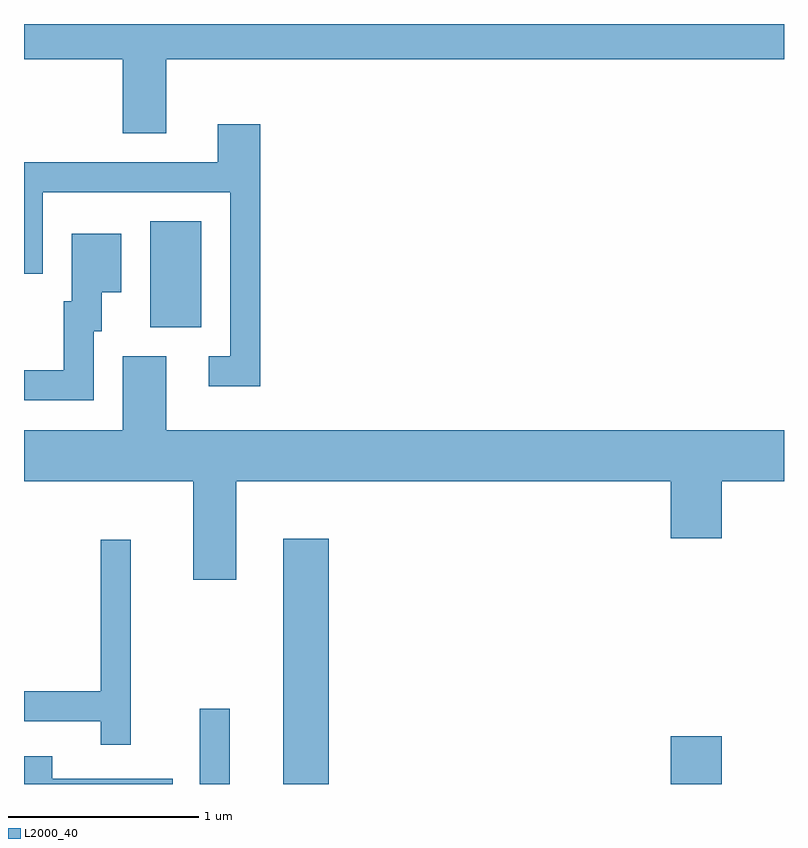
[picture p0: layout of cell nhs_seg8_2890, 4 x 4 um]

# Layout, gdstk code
import gdstk
lib = gdstk.Library(unit=1e-6, precision=1e-09)
def R(c, l, rs):  # rectangles x0, y0, x1, y1
    for r in rs: c.add(gdstk.rectangle(r[:2], r[2:], *l))
def P(c, l, *ps):  # polygons
    for p in ps: c.add(gdstk.Polygon(p, *l))
L2000_40 = (2000, 40)

nhs_seg8_2890 = lib.new_cell('nhs_seg8_2890')
R(nhs_seg8_2890, L2000_40, [(272.536,1870.342,272.694,1870.738), (272.976,1870.342,273.214,1871.634), (275.016,1870.342,275.284,1870.594), (272.276,1872.746,272.544,1873.304)])
P(nhs_seg8_2890, L2000_40, [(272.359,1874.156),(275.611,1874.156),(275.611,1874.342),(271.611,1874.342),(271.611,1874.156),(272.131,1874.156),(272.131,1873.766),(272.359,1873.766)],
  [(272.854,1873.814),(272.631,1873.814),(272.631,1873.614),(271.611,1873.614),(271.611,1873.028),(271.709,1873.028),(271.709,1873.456),(272.696,1873.456),(272.696,1872.594),(272.583,1872.594),(272.583,1872.436),(272.854,1872.436)],
  [(271.979,1872.726),(272.019,1872.726),(272.019,1872.931),(272.124,1872.931),(272.124,1873.239),(271.861,1873.239),(271.861,1872.884),(271.821,1872.884),(271.821,1872.519),(271.611,1872.519),(271.611,1872.361),(271.979,1872.361)],
  [(272.359,1872.594),(272.131,1872.594),(272.131,1872.204),(271.611,1872.204),(271.611,1871.936),(272.501,1871.936),(272.501,1871.416),(272.729,1871.416),(272.729,1871.936),(275.016,1871.936),(275.016,1871.636),(275.284,1871.636),(275.284,1871.936),(275.611,1871.936),(275.611,1872.204),(272.359,1872.204)],
  [(272.174,1871.628),(272.016,1871.628),(272.016,1870.829),(271.611,1870.829),(271.611,1870.671),(272.016,1870.671),(272.016,1870.548),(272.174,1870.548)],
  [(272.393,1870.369),(271.759,1870.369),(271.759,1870.489),(271.611,1870.489),(271.611,1870.342),(272.393,1870.342)])

lib.write_gds('nhs_seg8_2890.gds')
